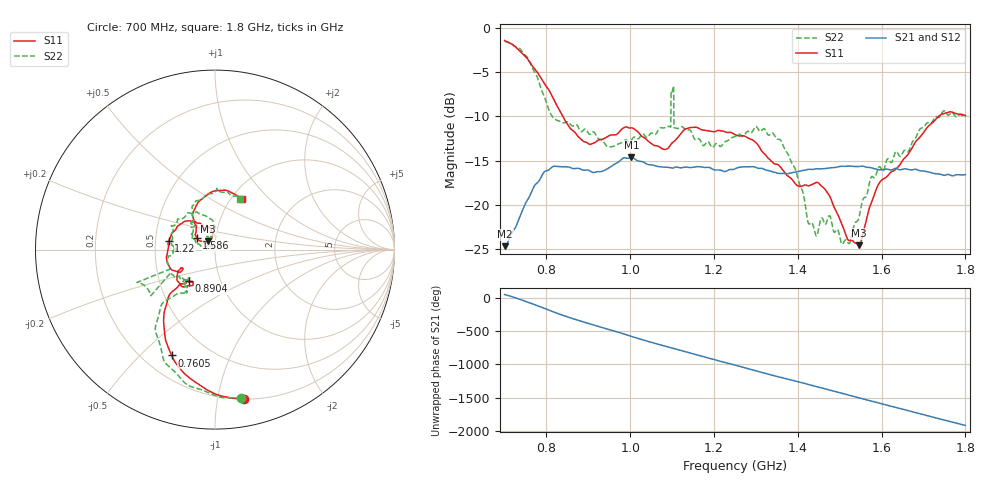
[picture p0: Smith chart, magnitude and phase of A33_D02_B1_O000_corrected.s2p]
! Created with skrf 1.9.0 (http://scikit-rf.org).
# Hz S RI R 50.0
!freq ReS11 ImS11 ReS21 ImS21 ReS12 ImS12 ReS22 ImS22
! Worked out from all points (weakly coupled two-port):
!   1601 points, 700 MHz to 1.8 GHz, reference 50 ohm
!   highest |S21| = -14.63 dB at 1.002 GHz (marker M1); lowest = -24.6 dB at 701.4 MHz (marker M2)
!   lowest |S11| = -24.6 dB at 1.546 GHz (marker M3), VSWR 1.13, Z = 46.1 + j4.19 ohm
!   |S11| at or under -10 dB: 839.3 MHz to 1.735 GHz (895.9 MHz wide, 69.6 % of centre)
!   |S22| runs from -24.4 to -1.5 dB; largest |S21 - S12| = 0.0034
!   S11 on the Smith chart (normalised r, x): 700 MHz: 0.20, -1.19; 760.5 MHz: 0.31, -0.62; 890.4 MHz: 0.71, -0.26; 1.22 GHz: 0.59, +0.06; 1.586 GHz: 0.81, +0.11; 1.8 GHz: 1.12, +0.70
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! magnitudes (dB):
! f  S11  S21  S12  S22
! 700 MHz  -1.4  -24.6  -24.4  -1.5
! 701.4 MHz  -1.4  -24.6  -24.3  -1.5
! 760.5 MHz  -3.9  -18.9  -18.8  -3.9
! 814.1 MHz  -7.8  -15.7  -15.7  -10.0
! 883.6 MHz  -12.6  -16.0  -15.9  -11.7
! 890.4 MHz  -12.9  -16.1  -16.0  -11.4
! 1.002 GHz  -11.3  -14.6  -14.7  -12.7
! 1.067 GHz  -13.4  -15.6  -15.6  -11.5
! 1.091 GHz  -13.5  -15.7  -15.7  -11.1
! 1.103 GHz  -12.9  -15.8  -15.7  -6.7
! 1.11 GHz  -12.6  -15.7  -15.8  -11.3
! 1.22 GHz  -11.6  -16.1  -16.2  -13.2
! 1.25 GHz  -12.0  -15.9  -15.8  -12.3
! 1.359 GHz  -15.7  -16.4  -16.4  -12.7
! 1.434 GHz  -17.7  -16.0  -15.9  -22.0
! 1.471 GHz  -18.6  -15.8  -15.8  -21.6
! 1.522 GHz  -24.0  -15.6  -15.6  -24.3
! 1.546 GHz  -24.6  -15.6  -15.6  -21.3
! 1.586 GHz  -18.3  -15.9  -15.9  -16.7
! 1.617 GHz  -16.5  -16.0  -15.9  -14.8
! 1.737 GHz  -9.9  -16.5  -16.5  -10.1
! 1.8 GHz  -9.9  -16.6  -16.6  -10.0
